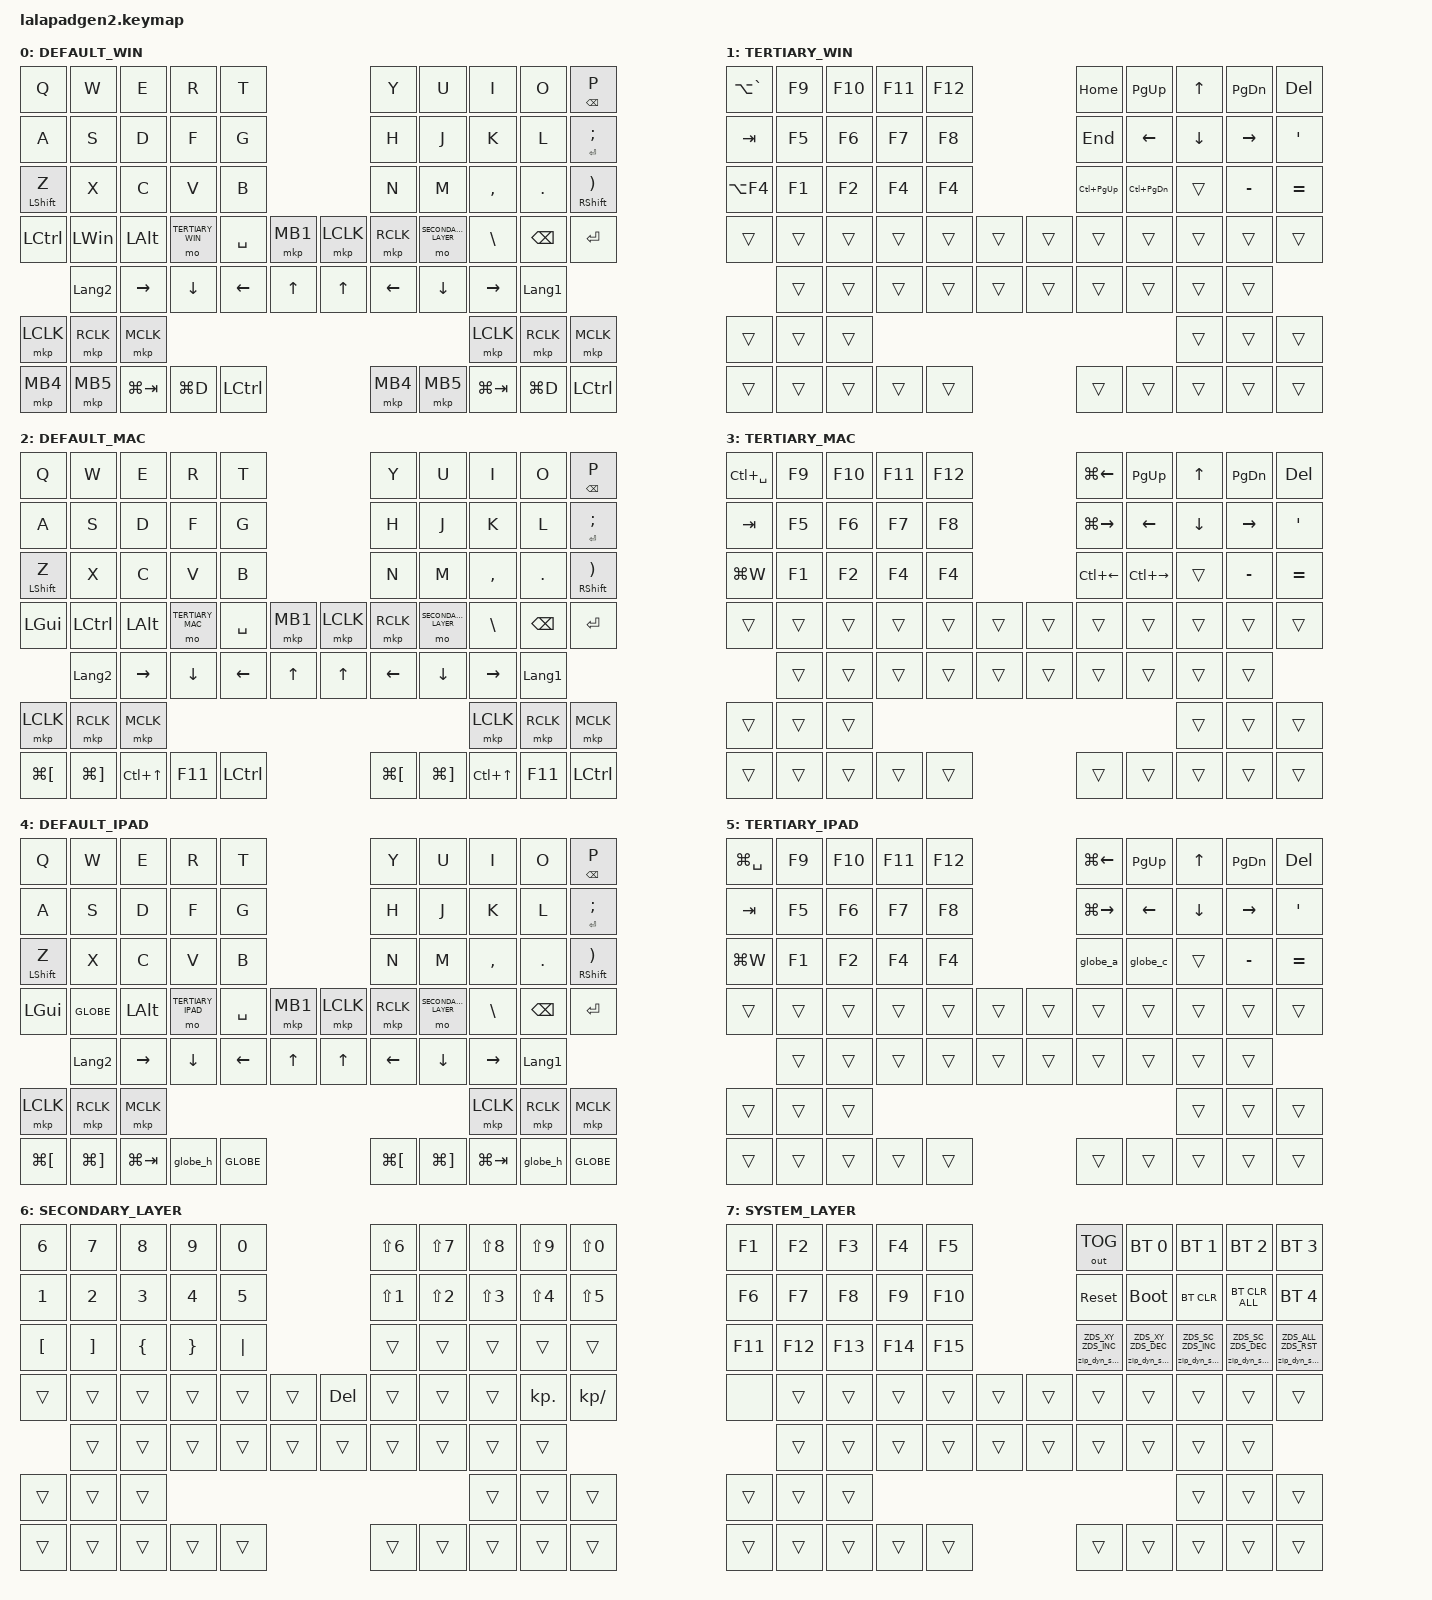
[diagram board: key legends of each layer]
#include <input/processors.dtsi>
#include <dt-bindings/zmk/zip_dynamic_scale.h>
#include <behaviors.dtsi>
#include <dt-bindings/zmk/bt.h>
#include <dt-bindings/zmk/keys.h>
#include <dt-bindings/zmk/outputs.h>
#include <dt-bindings/zmk/pointing.h>

#define DEFAULT_WIN       0
#define TERTIARY_WIN      1
#define DEFAULT_MAC       2
#define TERTIARY_MAC      3
#define DEFAULT_IPAD      4
#define TERTIARY_IPAD     5
#define SECONDARY_LAYER   6
#define SYSTEM_LAYER      7

&mt { quick-tap-ms = <200>; };

&lt { quick-tap-ms = <200>; };

/ {
    macros {
        to_win: to_win {
            compatible = "zmk,behavior-macro";
            #binding-cells = <0>;
            bindings = <&bt BT_SEL 0 &to DEFAULT_WIN>;
        };

        to_mac: to_mac {
            compatible = "zmk,behavior-macro";
            #binding-cells = <0>;
            bindings = <&bt BT_SEL 1 &to DEFAULT_MAC>;
        };

        to_ipad: to_ipad {
            compatible = "zmk,behavior-macro";
            #binding-cells = <0>;
            bindings = <&bt BT_SEL 2 &to DEFAULT_IPAD>;
        };

        globe_h: globe_h {
            compatible = "zmk,behavior-macro";
            #binding-cells = <0>;
            bindings =
                <&macro_press>,
                <&kp GLOBE>,
                <&macro_tap>,
                <&kp H>,
                <&macro_release>,
                <&kp GLOBE>;
        };

        globe_a: globe_a {
            compatible = "zmk,behavior-macro";
            #binding-cells = <0>;
            bindings =
                <&macro_press>,
                <&kp GLOBE>,
                <&macro_tap>,
                <&kp A>,
                <&macro_release>,
                <&kp GLOBE>;
        };

        globe_c: globe_c {
            compatible = "zmk,behavior-macro";
            #binding-cells = <0>;
            bindings =
                <&macro_press>,
                <&kp GLOBE>,
                <&macro_tap>,
                <&kp C>,
                <&macro_release>,
                <&kp GLOBE>;
        };
    };

    behaviors {
        zip_dyn_scale: zip_dyn_scale {
            compatible = "zmk,behavior-zip-dynamic-scale";
            #binding-cells = <2>;
        };

        zip_dyn_scale_set: zip_dyn_scale_set {
            compatible = "zmk,behavior-zip-dynamic-scale-set";
            #binding-cells = <2>;
        };

        mt2: mod_tap2 {
            compatible = "zmk,behavior-hold-tap";
            #binding-cells = <2>;
            flavor = "tap-preferred";
            tapping-term-ms = <200>;
            quick-tap-ms = <200>;
            require-prior-idle-ms = <125>;
            bindings = <&kp>, <&kp>;
        };

        tap_dance_layer_1and2: tap_dance_layer_1and2 {
            compatible = "zmk,behavior-tap-dance";
            label = "td_mo12";
            #binding-cells = <0>;
            bindings = <&mo SECONDARY_LAYER>, <&mo TERTIARY_WIN>;
        };
    };

    combos {
        compatible = "zmk,combos";

        CONBO_ESC {
            bindings = <&kp ESCAPE>;
            key-positions = <0 1>;
        };

        COMBO_TAB {
            bindings = <&kp TAB>;
            key-positions = <10 11>;
        };

        BackSpace {
            bindings = <&kp BACKSPACE>;
            key-positions = <8 9>;
        };

        Enter {
            bindings = <&kp ENTER>;
            key-positions = <18 19>;
        };

        Grave {
            bindings = <&kp GRAVE>;
            key-positions = <10 0>;
        };
    };

    keymap {
        compatible = "zmk,keymap";

        default_win_layer {
            display-name = "DEFAULT_WIN";
            bindings = <
&kp Q              &kp W           &kp E         &kp R             &kp T                           &kp Y      &kp U                &kp I          &kp O           &mt2 BACKSPACE P
&kp A              &kp S           &kp D         &kp F             &kp G                           &kp H      &kp J                &kp K          &kp L           &mt2 ENTER SEMICOLON
&mt2 LEFT_SHIFT Z  &kp X           &kp C         &kp V             &kp B                           &kp N      &kp M                &kp COMMA      &kp PERIOD      &mt2 RIGHT_SHIFT RIGHT_PARENTHESIS
&kp LCTRL          &kp LWIN        &kp LEFT_ALT  &mo TERTIARY_WIN  &kp SPACE  &mkp MB1  &mkp LCLK  &mkp RCLK  &mo SECONDARY_LAYER  &kp BACKSLASH  &kp BACKSPACE   &kp ENTER
                   &kp LANGUAGE_2  &kp RIGHT     &kp DOWN          &kp LEFT   &kp UP    &kp UP     &kp LEFT   &kp DOWN             &kp RIGHT      &kp LANGUAGE_1
&mkp LCLK          &mkp RCLK       &mkp MCLK                                                                                       &mkp LCLK      &mkp RCLK       &mkp MCLK
&mkp MB4           &mkp MB5        &kp LG(TAB)   &kp LG(D)         &kp LCTRL                       &mkp MB4   &mkp MB5             &kp LG(TAB)    &kp LG(D)       &kp LCTRL
            >;
        };

        tertiary_win_layer {
            display-name = "TERTIARY_WIN";
            bindings = <
&kp LA(GRAVE)  &kp F9  &kp F10  &kp F11  &kp F12                  &kp HOME         &kp PAGE_UP        &kp UP_ARROW    &kp PAGE_DOWN  &kp DELETE
&kp TAB        &kp F5  &kp F6   &kp F7   &kp F8                   &kp END          &kp LEFT           &kp DOWN_ARROW  &kp RIGHT      &kp APOS
&kp LA(F4)     &kp F1  &kp F2   &kp F4   &kp F4                   &kp LC(PAGE_UP)  &kp LC(PAGE_DOWN)  &trans          &kp MINUS      &kp EQUAL
&trans         &trans  &trans   &trans   &trans   &trans  &trans  &trans           &trans             &trans          &trans         &trans
               &trans  &trans   &trans   &trans   &trans  &trans  &trans           &trans             &trans          &trans
&trans         &trans  &trans                                                                         &trans          &trans         &trans
&trans         &trans  &trans   &trans   &trans                   &trans           &trans             &trans          &trans         &trans
            >;
        };

        default_mac_layer {
            display-name = "DEFAULT_MAC";
            bindings = <
&kp Q                 &kp W                  &kp E             &kp R             &kp T                           &kp Y                 &kp U                  &kp I             &kp O           &mt2 BACKSPACE P
&kp A                 &kp S                  &kp D             &kp F             &kp G                           &kp H                 &kp J                  &kp K             &kp L           &mt2 ENTER SEMICOLON
&mt2 LEFT_SHIFT Z     &kp X                  &kp C             &kp V             &kp B                           &kp N                 &kp M                  &kp COMMA         &kp PERIOD      &mt2 RIGHT_SHIFT RIGHT_PARENTHESIS
&kp LGUI              &kp LCTRL              &kp LEFT_ALT      &mo TERTIARY_MAC  &kp SPACE  &mkp MB1  &mkp LCLK  &mkp RCLK             &mo SECONDARY_LAYER    &kp BACKSLASH     &kp BACKSPACE   &kp ENTER
                      &kp LANGUAGE_2         &kp RIGHT         &kp DOWN          &kp LEFT   &kp UP    &kp UP     &kp LEFT              &kp DOWN               &kp RIGHT         &kp LANGUAGE_1
&mkp LCLK             &mkp RCLK              &mkp MCLK                                                                                                        &mkp LCLK         &mkp RCLK       &mkp MCLK
&kp LG(LEFT_BRACKET)  &kp LG(RIGHT_BRACKET)  &kp LC(UP_ARROW)  &kp F11           &kp LCTRL                       &kp LG(LEFT_BRACKET)  &kp LG(RIGHT_BRACKET)  &kp LC(UP_ARROW)  &kp F11         &kp LCTRL
            >;
        };

        tertiary_mac_layer {
            display-name = "TERTIARY_MAC";
            bindings = <
&kp LC(SPACE)  &kp F9  &kp F10  &kp F11  &kp F12                  &kp LG(LEFT)   &kp PAGE_UP    &kp UP_ARROW    &kp PAGE_DOWN  &kp DELETE
&kp TAB        &kp F5  &kp F6   &kp F7   &kp F8                   &kp LG(RIGHT)  &kp LEFT       &kp DOWN_ARROW  &kp RIGHT      &kp APOS
&kp LG(W)      &kp F1  &kp F2   &kp F4   &kp F4                   &kp LC(LEFT)   &kp LC(RIGHT)  &trans          &kp MINUS      &kp EQUAL
&trans         &trans  &trans   &trans   &trans   &trans  &trans  &trans         &trans         &trans          &trans         &trans
               &trans  &trans   &trans   &trans   &trans  &trans  &trans         &trans         &trans          &trans
&trans         &trans  &trans                                                                   &trans          &trans         &trans
&trans         &trans  &trans   &trans   &trans                   &trans         &trans         &trans          &trans         &trans
            >;
        };

        default_ipad_layer {
            display-name = "DEFAULT_IPAD";
            bindings = <
&kp Q                 &kp W                  &kp E         &kp R              &kp T                           &kp Y                 &kp U                  &kp I          &kp O           &mt2 BACKSPACE P
&kp A                 &kp S                  &kp D         &kp F              &kp G                           &kp H                 &kp J                  &kp K          &kp L           &mt2 ENTER SEMICOLON
&mt2 LEFT_SHIFT Z     &kp X                  &kp C         &kp V              &kp B                           &kp N                 &kp M                  &kp COMMA      &kp PERIOD      &mt2 RIGHT_SHIFT RIGHT_PARENTHESIS
&kp LGUI              &kp GLOBE              &kp LEFT_ALT  &mo TERTIARY_IPAD  &kp SPACE  &mkp MB1  &mkp LCLK  &mkp RCLK             &mo SECONDARY_LAYER    &kp BACKSLASH  &kp BACKSPACE   &kp ENTER
                      &kp LANGUAGE_2         &kp RIGHT     &kp DOWN           &kp LEFT   &kp UP    &kp UP     &kp LEFT              &kp DOWN               &kp RIGHT      &kp LANGUAGE_1
&mkp LCLK             &mkp RCLK              &mkp MCLK                                                                                                     &mkp LCLK      &mkp RCLK       &mkp MCLK
&kp LG(LEFT_BRACKET)  &kp LG(RIGHT_BRACKET)  &kp LG(TAB)   &globe_h           &kp GLOBE                       &kp LG(LEFT_BRACKET)  &kp LG(RIGHT_BRACKET)  &kp LG(TAB)    &globe_h        &kp GLOBE
            >;
        };

        tertiary_ipad_layer {
            display-name = "TERTIARY_IPAD";
            bindings = <
&kp LG(SPACE)  &kp F9  &kp F10  &kp F11  &kp F12                  &kp LG(LEFT)   &kp PAGE_UP  &kp UP_ARROW    &kp PAGE_DOWN  &kp DELETE
&kp TAB        &kp F5  &kp F6   &kp F7   &kp F8                   &kp LG(RIGHT)  &kp LEFT     &kp DOWN_ARROW  &kp RIGHT      &kp APOS
&kp LG(W)      &kp F1  &kp F2   &kp F4   &kp F4                   &globe_a       &globe_c     &trans          &kp MINUS      &kp EQUAL
&trans         &trans  &trans   &trans   &trans   &trans  &trans  &trans         &trans       &trans          &trans         &trans
               &trans  &trans   &trans   &trans   &trans  &trans  &trans         &trans       &trans          &trans
&trans         &trans  &trans                                                                 &trans          &trans         &trans
&trans         &trans  &trans   &trans   &trans                   &trans         &trans       &trans          &trans         &trans
            >;
        };

        secondary_layer {
            display-name = "SECONDARY_LAYER";
            bindings = <
&kp NUMBER_6      &kp NUMBER_7       &kp NUMBER_8    &kp NUMBER_9     &kp NUMBER_0                   &kp LS(NUMBER_6)  &kp LS(NUMBER_7)  &kp LS(NUMBER_8)  &kp LS(NUMBER_9)  &kp LS(NUMBER_0)
&kp NUMBER_1      &kp NUMBER_2       &kp NUMBER_3    &kp NUMBER_4     &kp NUMBER_5                   &kp LS(NUMBER_1)  &kp LS(NUMBER_2)  &kp LS(NUMBER_3)  &kp LS(NUMBER_4)  &kp LS(NUMBER_5)
&kp LEFT_BRACKET  &kp RIGHT_BRACKET  &kp LEFT_BRACE  &kp RIGHT_BRACE  &kp PIPE                       &trans            &trans            &trans            &trans            &trans
&trans            &trans             &trans          &trans           &trans        &trans  &kp DEL  &trans            &trans            &trans            &kp KP_DOT        &kp KP_DIVIDE
                  &trans             &trans          &trans           &trans        &trans  &trans   &trans            &trans            &trans            &trans
&trans            &trans             &trans                                                                                              &trans            &trans            &trans
&trans            &trans             &trans          &trans           &trans                         &trans            &trans            &trans            &trans            &trans
            >;
        };

        system_layer {
            display-name = "SYSTEM_LAYER";
            bindings = <
&kp F1   &kp F2   &kp F3   &kp F4   &kp F5                   &out OUT_TOG                   &bt BT_SEL 0                   &bt BT_SEL 1                   &bt BT_SEL 2                   &bt BT_SEL 3
&kp F6   &kp F7   &kp F8   &kp F9   &kp F10                  &sys_reset                     &bootloader                    &bt BT_CLR                     &bt BT_CLR_ALL                 &bt BT_SEL 4
&kp F11  &kp F12  &kp F13  &kp F14  &kp F15                  &zip_dyn_scale ZDS_XY ZDS_INC  &zip_dyn_scale ZDS_XY ZDS_DEC  &zip_dyn_scale ZDS_SC ZDS_INC  &zip_dyn_scale ZDS_SC ZDS_DEC  &zip_dyn_scale ZDS_ALL ZDS_RST
&none    &trans   &trans   &trans   &trans   &trans  &trans  &trans                         &trans                         &trans                         &trans                         &trans
         &trans   &trans   &trans   &trans   &trans  &trans  &trans                         &trans                         &trans                         &trans
&trans   &trans   &trans                                                                                                   &trans                         &trans                         &trans
&trans   &trans   &trans   &trans   &trans                   &trans                         &trans                         &trans                         &trans                         &trans
            >;
        };
    };

    conditional_layers {
        compatible = "zmk,conditional-layers";

        Cond_Syslayer_Win {
            if-layers = <SECONDARY_LAYER TERTIARY_WIN>;
            then-layer = <SYSTEM_LAYER>;
        };

        Cond_Syslayer_Mac {
            if-layers = <SECONDARY_LAYER TERTIARY_MAC>;
            then-layer = <SYSTEM_LAYER>;
        };

        Cond_Syslayer_iPad {
            if-layers = <SECONDARY_LAYER TERTIARY_IPAD>;
            then-layer = <SYSTEM_LAYER>;
        };
    };
};
